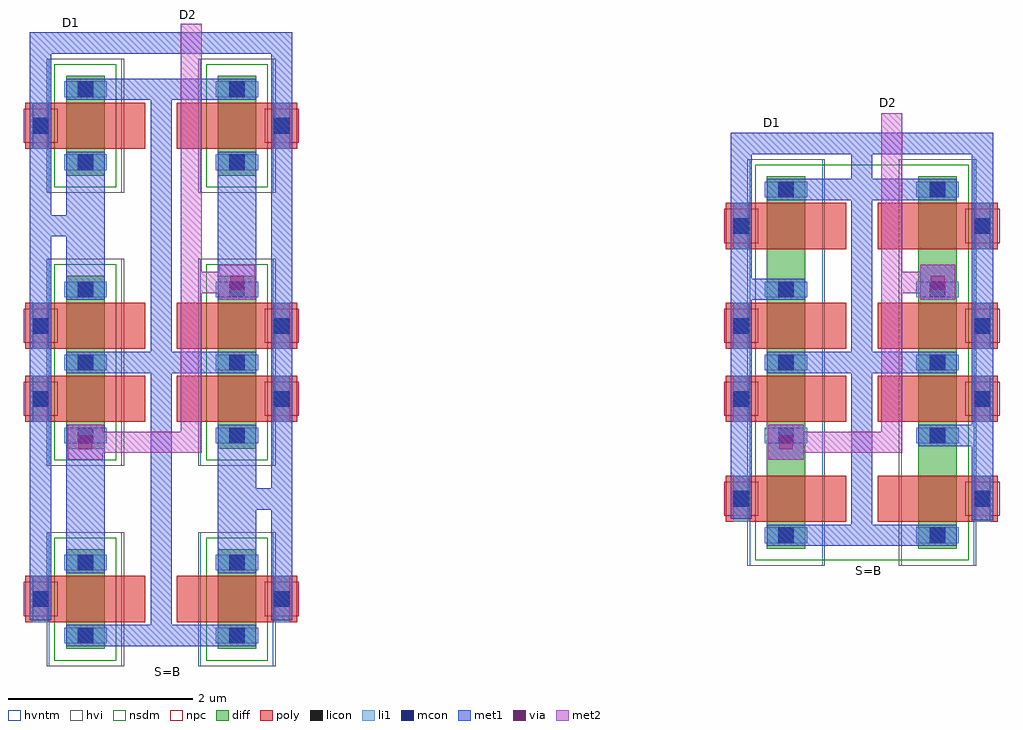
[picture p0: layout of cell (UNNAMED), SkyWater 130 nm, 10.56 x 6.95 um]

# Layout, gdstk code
import gdstk
lib = gdstk.Library(unit=1e-6, precision=1e-09)
def R(c, l, rs):  # rectangles x0, y0, x1, y1
    for r in rs: c.add(gdstk.rectangle(r[:2], r[2:], *l))
def A(c, l, x, y, w, h, nx, ny, dx, dy):  # array of equal rectangles
    R(c, l, [(x+i*dx, y+j*dy, x+i*dx+w, y+j*dy+h) for i in range(nx) for j in range(ny)])
diff = (65, 20)
poly = (66, 20)
licon = (66, 44)
li1 = (67, 20)
mcon = (67, 44)
met1 = (68, 20)
via = (68, 44)
met2 = (69, 20)
hvi = (75, 20)
nsdm = (93, 44)
npc = (95, 20)
hvntm = (125, 20)

c__unnamed_ = lib.new_cell('(UNNAMED)')
R(c__unnamed_, diff, [(0.33,-5.012,0.75,-3.932), (1.97,-5.012,2.39,-3.932), (7.911,-3.926,8.331,-2.846), (9.551,-3.926,9.971,-2.846), (0.33,-2.846,0.75,-0.976), (1.97,-2.846,2.39,-0.976), (7.911,-2.846,8.331,-0.976), (9.551,-2.846,9.971,-0.976), (7.911,-0.976,8.331,0.104), (9.551,-0.976,9.971,0.104), (0.33,0.11,0.75,1.19), (1.97,0.11,2.39,1.19)])
R(c__unnamed_, poly, [(-0.11,-4.722,1.19,-4.222), (1.53,-4.722,2.83,-4.222), (7.471,-3.636,8.771,-3.136), (9.111,-3.636,10.411,-3.136), (-0.11,-2.556,1.19,-2.056), (1.53,-2.556,2.83,-2.056), (7.471,-2.556,8.771,-2.056), (9.111,-2.556,10.411,-2.056), (-0.11,-1.766,1.19,-1.266), (1.53,-1.766,2.83,-1.266), (7.471,-1.766,8.771,-1.266), (9.111,-1.766,10.411,-1.266), (7.471,-0.686,8.771,-0.186), (9.111,-0.686,10.411,-0.186), (-0.11,0.4,1.19,0.9), (1.53,0.4,2.83,0.9)])
A(c__unnamed_, licon, 0.455, -2.786, 0.17, 0.17, 1, 3, 0, 0.79)
A(c__unnamed_, licon, 2.095, -2.786, 0.17, 0.17, 1, 3, 0, 0.79)
A(c__unnamed_, licon, 8.036, -2.786, 0.17, 0.17, 1, 3, 0, 0.79)
A(c__unnamed_, licon, 9.676, -2.786, 0.17, 0.17, 1, 3, 0, 0.79)
R(c__unnamed_, licon, [(0.455,-4.952,0.625,-4.782), (2.095,-4.952,2.265,-4.782), (-0.03,-4.557,0.14,-4.387), (2.58,-4.557,2.75,-4.387), (0.455,-4.162,0.625,-3.992), (2.095,-4.162,2.265,-3.992), (8.036,-3.866,8.206,-3.696), (9.676,-3.866,9.846,-3.696), (7.551,-3.471,7.721,-3.301), (10.161,-3.471,10.331,-3.301), (-0.03,-2.391,0.14,-2.221), (2.58,-2.391,2.75,-2.221), (7.551,-2.391,7.721,-2.221), (10.161,-2.391,10.331,-2.221), (-0.03,-1.601,0.14,-1.431), (2.58,-1.601,2.75,-1.431), (7.551,-1.601,7.721,-1.431), (10.161,-1.601,10.331,-1.431), (7.551,-0.521,7.721,-0.351), (10.161,-0.521,10.331,-0.351), (8.036,-0.126,8.206,0.044), (9.676,-0.126,9.846,0.044), (0.455,0.17,0.625,0.34), (2.095,0.17,2.265,0.34), (-0.03,0.565,0.14,0.735), (2.58,0.565,2.75,0.735), (0.455,0.96,0.625,1.13), (2.095,0.96,2.265,1.13)])
A(c__unnamed_, li1, 0.31, -2.786, 0.46, 0.17, 1, 3, 0, 0.79)
A(c__unnamed_, li1, 1.95, -2.786, 0.46, 0.17, 1, 3, 0, 0.79)
A(c__unnamed_, li1, 7.891, -2.786, 0.46, 0.17, 1, 3, 0, 0.79)
A(c__unnamed_, li1, 9.531, -2.786, 0.46, 0.17, 1, 3, 0, 0.79)
R(c__unnamed_, li1, [(0.31,-4.952,0.77,-4.782), (1.95,-4.952,2.41,-4.782), (-0.03,-4.722,0.14,-4.222), (2.58,-4.722,2.75,-4.222), (0.31,-4.162,0.77,-3.992), (1.95,-4.162,2.41,-3.992), (7.891,-3.866,8.351,-3.696), (9.531,-3.866,9.991,-3.696), (7.551,-3.636,7.721,-3.136), (10.161,-3.636,10.331,-3.136), (-0.03,-2.556,0.14,-2.056), (2.58,-2.556,2.75,-2.056), (7.551,-2.556,7.721,-2.056), (10.161,-2.556,10.331,-2.056), (-0.03,-1.766,0.14,-1.266), (2.58,-1.766,2.75,-1.266), (7.551,-1.766,7.721,-1.266), (10.161,-1.766,10.331,-1.266), (7.551,-0.686,7.721,-0.186), (10.161,-0.686,10.331,-0.186), (7.891,-0.126,8.351,0.044), (9.531,-0.126,9.991,0.044), (0.31,0.17,0.77,0.34), (1.95,0.17,2.41,0.34), (-0.03,0.4,0.14,0.9), (2.58,0.4,2.75,0.9), (0.31,0.96,0.77,1.13), (1.95,0.96,2.41,1.13)])
A(c__unnamed_, mcon, 0.455, -2.786, 0.17, 0.17, 1, 3, 0, 0.79)
A(c__unnamed_, mcon, 2.095, -2.786, 0.17, 0.17, 1, 3, 0, 0.79)
A(c__unnamed_, mcon, 8.036, -2.786, 0.17, 0.17, 1, 3, 0, 0.79)
A(c__unnamed_, mcon, 9.676, -2.786, 0.17, 0.17, 1, 3, 0, 0.79)
R(c__unnamed_, mcon, [(0.455,-4.952,0.625,-4.782), (2.095,-4.952,2.265,-4.782), (-0.03,-4.557,0.14,-4.387), (2.58,-4.557,2.75,-4.387), (0.455,-4.162,0.625,-3.992), (2.095,-4.162,2.265,-3.992), (8.036,-3.866,8.206,-3.696), (9.676,-3.866,9.846,-3.696), (7.551,-3.471,7.721,-3.301), (10.161,-3.471,10.331,-3.301), (-0.03,-2.391,0.14,-2.221), (2.58,-2.391,2.75,-2.221), (7.551,-2.391,7.721,-2.221), (10.161,-2.391,10.331,-2.221), (-0.03,-1.601,0.14,-1.431), (2.58,-1.601,2.75,-1.431), (7.551,-1.601,7.721,-1.431), (10.161,-1.601,10.331,-1.431), (7.551,-0.521,7.721,-0.351), (10.161,-0.521,10.331,-0.351), (8.036,-0.126,8.206,0.044), (9.676,-0.126,9.846,0.044), (0.455,0.17,0.625,0.34), (2.095,0.17,2.265,0.34), (-0.03,0.565,0.14,0.735), (2.58,0.565,2.75,0.735), (0.455,0.96,0.625,1.13), (2.095,0.96,2.265,1.13)])
A(c__unnamed_, met1, 9.551, -3.896, 0.42, 0.23, 1, 3, 0, 1.87)
A(c__unnamed_, met1, 1.97, -2.816, 0.42, 0.23, 1, 3, 0, 0.79)
R(c__unnamed_, met1, [(0.33,-4.982,2.099,-4.752), (1.97,-4.982,2.39,-4.752), (1.245,-4.752,1.475,0.939), (-0.06,-4.702,0.17,-2.076), (2.55,-4.702,2.78,-2.076), (0.33,-4.192,0.75,-3.962), (0.33,-4.192,0.75,-3.962), (0.33,-4.192,0.75,-2.586), (1.97,-4.192,2.39,-3.962), (1.97,-4.192,2.39,-3.962), (1.97,-4.192,2.39,-2.586), (7.911,-3.896,9.68,-3.666), (8.826,-3.875,9.056,0.546), (10.131,-3.617,10.361,-2.076), (7.521,-3.605,7.751,-2.076), (2.39,-3.504,2.78,-3.274), (0.33,-2.816,0.75,-2.586), (9.551,-2.816,10.351,-2.586), (-0.06,-2.536,0.17,-2.076), (2.55,-2.536,2.78,-2.076), (7.521,-2.536,7.751,-2.076), (10.131,-2.536,10.361,-2.076), (2.55,-2.151,2.78,-1.286), (10.131,-2.151,10.361,-1.286), (-0.06,-2.115,0.17,-1.286), (7.521,-2.115,7.751,-1.286), (0.33,-2.026,2.088,-1.796), (7.911,-2.026,9.669,-1.796), (-0.06,-1.746,0.17,1.659), (2.55,-1.746,2.78,1.659), (7.521,-1.746,7.751,0.565), (10.131,-1.746,10.361,0.572), (0.33,-1.236,0.75,-1.006), (0.33,-1.236,0.75,0.37), (1.97,-1.236,2.39,0.37), (7.536,-1.236,8.331,-1.006), (-0.06,-0.548,0.33,-0.318), (7.911,-0.156,9.674,0.074), (7.911,-0.156,8.331,0.074), (9.551,-0.156,9.971,0.074), (7.521,0.343,10.361,0.573), (0.33,0.93,2.093,1.16), (0.33,0.93,0.75,1.16), (1.97,0.93,2.39,1.16), (1.97,0.93,2.39,1.16), (-0.06,1.429,2.78,1.659)])
R(c__unnamed_, via, [(0.465,-2.851,0.615,-2.701), (8.046,-2.851,8.196,-2.701), (2.105,-1.121,2.255,-0.971), (9.686,-1.121,9.836,-0.971)])
R(c__unnamed_, met2, [(0.73,-2.891,1.8,-2.661), (1.57,-2.891,1.8,1.751), (8.311,-2.891,9.381,-2.661), (9.151,-2.891,9.381,0.784), (1.57,-1.161,1.99,-0.931), (9.151,-1.161,9.571,-0.931)])
R(c__unnamed_, hvi, [(0.12,-5.197,0.96,-3.747), (1.76,-5.197,2.6,-3.747), (7.701,-4.111,8.541,-2.661), (9.341,-4.111,10.181,-2.661), (0.12,-3.031,0.96,-0.791), (1.76,-3.031,2.6,-0.791), (7.701,-3.031,8.541,-0.791), (9.341,-3.031,10.181,-0.791), (7.701,-1.161,8.541,0.289), (9.341,-1.161,10.181,0.289), (0.12,-0.075,0.96,1.375), (1.76,-0.075,2.6,1.375)])
R(c__unnamed_, nsdm, [(0.205,-5.137,0.875,-3.807), (1.845,-5.137,2.515,-3.807), (7.786,-4.051,10.096,0.229), (0.205,-2.971,0.875,-0.851), (1.845,-2.971,2.515,-0.851), (0.205,-0.015,0.875,1.315), (1.845,-0.015,2.515,1.315)])
R(c__unnamed_, npc, [(-0.13,-4.657,0.24,-4.287), (2.48,-4.657,2.85,-4.287), (7.451,-3.571,7.821,-3.201), (10.061,-3.571,10.431,-3.201), (-0.13,-2.491,0.24,-2.121), (2.48,-2.491,2.85,-2.121), (7.451,-2.491,7.821,-2.121), (10.061,-2.491,10.431,-2.121), (-0.13,-1.701,0.24,-1.331), (2.48,-1.701,2.85,-1.331), (7.451,-1.701,7.821,-1.331), (10.061,-1.701,10.431,-1.331), (7.451,-0.621,7.821,-0.251), (10.061,-0.621,10.431,-0.251), (-0.13,0.465,0.24,0.835), (2.48,0.465,2.85,0.835)])
R(c__unnamed_, hvntm, [(0.145,-5.197,0.935,-3.747), (1.785,-5.197,2.575,-3.747), (7.726,-4.111,8.516,-2.661), (9.366,-4.111,10.156,-2.661), (0.145,-3.031,0.935,-0.791), (1.785,-3.031,2.575,-0.791), (7.726,-3.031,8.516,-0.791), (9.366,-3.031,10.156,-0.791), (7.726,-1.161,8.516,0.289), (9.366,-1.161,10.156,0.289), (0.145,-0.075,0.935,1.375), (1.785,-0.075,2.575,1.375)])
c__unnamed_.add(gdstk.FlexPath([(1.99,-1.046),(2.37,-1.046)], 0.38, ends="flush", simple_path=True, layer=68, datatype=20))  # met1
c__unnamed_.add(gdstk.FlexPath([(9.571,-1.046),(9.951,-1.046)], 0.38, ends="flush", simple_path=True, layer=68, datatype=20))  # met1
c__unnamed_.add(gdstk.FlexPath([(7.931,-2.776),(8.311,-2.776)], 0.38, ends="flush", simple_path=True, layer=68, datatype=20))  # met1
c__unnamed_.add(gdstk.FlexPath([(1.99,-1.046),(2.37,-1.046)], 0.38, ends="flush", simple_path=True, layer=69, datatype=20))  # met2
c__unnamed_.add(gdstk.FlexPath([(0.35,-2.776),(0.73,-2.776)], 0.38, ends="flush", simple_path=True, layer=69, datatype=20))  # met2
c__unnamed_.add(gdstk.FlexPath([(9.571,-1.046),(9.951,-1.046)], 0.38, ends="flush", simple_path=True, layer=69, datatype=20))  # met2
c__unnamed_.add(gdstk.FlexPath([(7.931,-2.776),(8.311,-2.776)], 0.38, ends="flush", simple_path=True, layer=69, datatype=20))  # met2
c__unnamed_.add(gdstk.Label('D1', (0.391,1.771), layer=68, texttype=20))
c__unnamed_.add(gdstk.Label('D2', (1.651,1.851), layer=68, texttype=20))
c__unnamed_.add(gdstk.Label('S=B', (1.43,-5.253), layer=68, texttype=20))
c__unnamed_.add(gdstk.Label('D2', (9.232,0.901), layer=68, texttype=20))
c__unnamed_.add(gdstk.Label('D1', (7.972,0.685), layer=68, texttype=20))
c__unnamed_.add(gdstk.Label('S=B', (9.011,-4.167), layer=68, texttype=20))

lib.write_gds('_UNNAMED_.gds')
